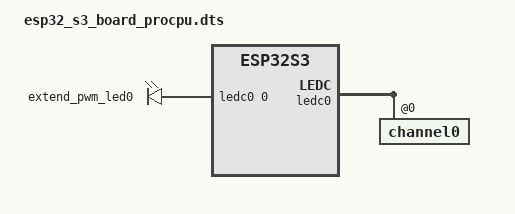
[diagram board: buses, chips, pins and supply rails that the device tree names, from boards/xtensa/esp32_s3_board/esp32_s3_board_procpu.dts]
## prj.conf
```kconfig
CONFIG_GPIO=y
CONFIG_PWM=y
CONFIG_PRINTK=y
CONFIG_LOG=y
CONFIG_PWM_LOG_LEVEL_DBG=y
```

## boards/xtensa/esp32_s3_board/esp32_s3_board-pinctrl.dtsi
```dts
#include <zephyr/dt-bindings/pinctrl/esp32s3-pinctrl.h>

&pinctrl {
	ledc0_default: ledc0_default {
		group1 {
			pinmux = <LEDC_CH0_GPIO1>;
			output-enable;
		};
	};
};
```

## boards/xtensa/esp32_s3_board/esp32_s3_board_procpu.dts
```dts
/dts-v1/;

#include <espressif/esp32s3/esp32s3_wroom_n16r8.dtsi>
#include <espressif/partitions_0x0_amp.dtsi>
#include <zephyr/dt-bindings/pwm/pwm.h>
#include "esp32_s3_board-pinctrl.dtsi"

/* root device tree*/
// hardware object nood
// container nood
// leds/led_0 -> led0

/ {
    pwmleds {
        compatible = "pwm-leds";

        pwm_led0: led_0 {
			label = "extend_pwm_led0";
			/* <&ledc0 通道0 周期200000ns=5kHz 极性取反(对应LED低电平有效)> */
			pwms = <&ledc0 0 200000 PWM_POLARITY_INVERTED>;
		};
    };

    aliases {
        pwm-led0 = &pwm_led0;
    };

    chosen {
        zephyr,sram = &sram1;
        zephyr,flash = &flash0;
        zephyr,console = &uart0;
    };
};

&ledc0 {
	status = "okay";
	pinctrl-0 = <&ledc0_default>;
	pinctrl-names = "default";
	#address-cells = <1>;
	#size-cells = <0>;
	channel0@0 {
		reg = <0x0>;
		timer = <0>;
	};
};
```

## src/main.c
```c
/*
 * ESP32-S3 + Zephyr PWM breathing LED
 * Idea: LEDC makes a 5kHz square wave (carrier).
 *       Software moves pulse (width in ns) from 0 to period,
 *       then back. So the envelope is a triangle wave = "breath".
 */

#include <zephyr/kernel.h>
#include <zephyr/sys/printk.h>
#include <zephyr/device.h>
#include <zephyr/drivers/pwm.h>

/* Get the LED info from dts alias "pwm-led0".
 * The info has: dev=ledc0, channel=0, period=200000ns(5kHz),
 *               flags=PWM_POLARITY_INVERTED */
static const struct pwm_dt_spec pwm_led0 = PWM_DT_SPEC_GET(DT_ALIAS(pwm_led0));

#define NUM_STEPS  50U    /* steps in one way (up or down): 50 = 2% each */
#define SLEEP_MSEC 25U    /* wait 25ms after each step:
                           * 50*25ms*2 ways = 2.5s one full breath */

int main(void)
{
	uint32_t pulse = 0U;                       /* current pulse width (ns) */
	uint32_t step = pwm_led0.period / NUM_STEPS;   /* 200000/50 = 4000ns */
	bool up = true;                            /* true = going up, false = going down */
	int ret;

	printk("PWM breathing LED start\r\n");

	if (!pwm_is_ready_dt(&pwm_led0)) {
		printk("Error: PWM device %s is not ready\n", pwm_led0.dev->name);
		return 0;
	}

	while (1) {
		/* 1. Write the "current level" to hardware.
		 * Period and polarity come from spec, we only give pulse. */
		ret = pwm_set_pulse_dt(&pwm_led0, pulse);
		if (ret != 0) {
			printk("Error %d: failed to set pulse width\n", ret);
		}

		/* 2. Move one step: going up */
		if (up) {
			if (pulse + step >= pwm_led0.period) {
				pulse = pwm_led0.period;   /* hit the top: clamp to 100% */
				up = false;                /* change direction */
			} else {
				pulse += step;             /* else step forward */
			}
		} else {
		/* 3. Move one step: going down */
			if (pulse <= step) {
				pulse = 0U;                /* hit the bottom: clamp to 0% */
				up = true;                 /* change direction */
			} else {
				pulse -= step;             /* else step back */
			}
		}

		/* 4. Heartbeat: sleep 25ms, wake up and go back to step 1 */
		k_msleep(SLEEP_MSEC);
	}
	return 0;
}
```
